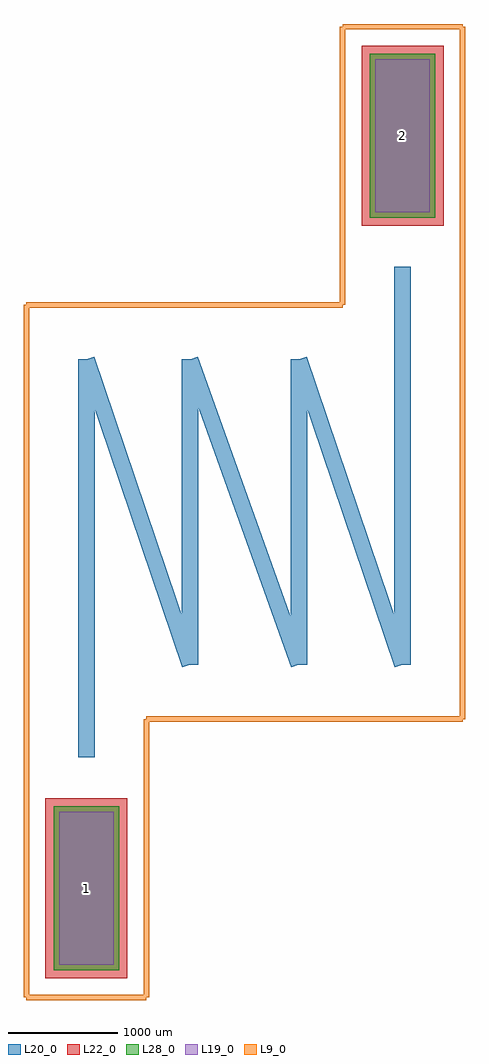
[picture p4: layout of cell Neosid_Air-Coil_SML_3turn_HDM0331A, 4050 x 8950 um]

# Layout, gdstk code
import gdstk
lib = gdstk.Library(unit=1e-6, precision=1e-09)
def R(c, l, rs):  # rectangles x0, y0, x1, y1
    for r in rs: c.add(gdstk.rectangle(r[:2], r[2:], *l))
L9_0 = (9, 0)
L19_0 = (19, 0)
L20_0 = (20, 0)
L22_0 = (22, 0)
L28_0 = (28, 0)

neosid_air_coil_sml_3tur = lib.new_cell('Neosid_Air-Coil_SML_3turn_HDM0331A')
R(neosid_air_coil_sml_3tur, L19_0, [(-1700,-4150,-1200,-2750), (1200,2750,1700,4150)])
R(neosid_air_coil_sml_3tur, L22_0, [(-1825,-4275,-1075,-2625), (1075,2625,1825,4275)])
R(neosid_air_coil_sml_3tur, L28_0, [(-1750,-4200,-1150,-2700), (1150,2700,1750,4200)])
neosid_air_coil_sml_3tur.add(gdstk.FlexPath([(1450,-1400),(1450,2250)], 149.998, ends="flush", simple_path=True, layer=20, datatype=0))  # L20_0
neosid_air_coil_sml_3tur.add(gdstk.FlexPath([(-1450,1400),(-1450,-2250)], 149.998, ends="flush", simple_path=True, layer=20, datatype=0))  # L20_0
neosid_air_coil_sml_3tur.add(gdstk.FlexPath([(-500,1400),(-500,-1400)], 149.998, ends="flush", simple_path=True, layer=20, datatype=0))  # L20_0
neosid_air_coil_sml_3tur.add(gdstk.FlexPath([(500,1400),(500,-1400)], 149.998, ends="flush", simple_path=True, layer=20, datatype=0))  # L20_0
neosid_air_coil_sml_3tur.add(gdstk.FlexPath([(-1450,1400),(-500,-1400)], 149.998, ends="flush", simple_path=True, layer=20, datatype=0))  # L20_0
neosid_air_coil_sml_3tur.add(gdstk.FlexPath([(-500,1400),(500,-1400)], 149.998, ends="flush", simple_path=True, layer=20, datatype=0))  # L20_0
neosid_air_coil_sml_3tur.add(gdstk.FlexPath([(500,1400),(1450,-1400)], 149.998, ends="flush", simple_path=True, layer=20, datatype=0))  # L20_0
neosid_air_coil_sml_3tur.add(gdstk.FlexPath([(-2000,1900),(-2000,-4450)], 50, ends="flush", simple_path=True, layer=9, datatype=0))  # L9_0
neosid_air_coil_sml_3tur.add(gdstk.FlexPath([(900,1900),(-2000,1900)], 50, ends="flush", simple_path=True, layer=9, datatype=0))  # L9_0
neosid_air_coil_sml_3tur.add(gdstk.FlexPath([(900,4450),(900,1900)], 50, ends="flush", simple_path=True, layer=9, datatype=0))  # L9_0
neosid_air_coil_sml_3tur.add(gdstk.FlexPath([(2000,4450),(900,4450)], 50, ends="flush", simple_path=True, layer=9, datatype=0))  # L9_0
neosid_air_coil_sml_3tur.add(gdstk.FlexPath([(2000,-1900),(2000,4450)], 50, ends="flush", simple_path=True, layer=9, datatype=0))  # L9_0
neosid_air_coil_sml_3tur.add(gdstk.FlexPath([(-900,-1900),(2000,-1900)], 50, ends="flush", simple_path=True, layer=9, datatype=0))  # L9_0
neosid_air_coil_sml_3tur.add(gdstk.FlexPath([(-900,-4450),(-900,-1900)], 50, ends="flush", simple_path=True, layer=9, datatype=0))  # L9_0
neosid_air_coil_sml_3tur.add(gdstk.FlexPath([(-2000,-4450),(-900,-4450)], 50, ends="flush", simple_path=True, layer=9, datatype=0))  # L9_0
neosid_air_coil_sml_3tur.add(gdstk.Label('2', (1450,3450), layer=28, texttype=0))
neosid_air_coil_sml_3tur.add(gdstk.Label('1', (-1450,-3450), layer=28, texttype=0))
neosid_air_coil_sml_3tur.add(gdstk.Label('type', (0,-5500), layer=9, texttype=0))
neosid_air_coil_sml_3tur.add(gdstk.Label('devicename', (0,5500), layer=9, texttype=0))

lib.write_gds('Neosid_Air-Coil_SML_3turn_HDM0331A.gds')
